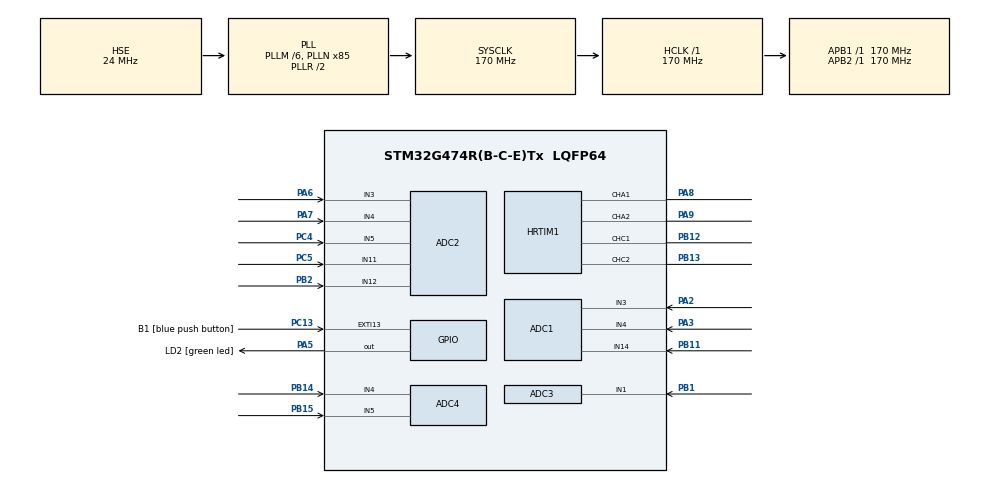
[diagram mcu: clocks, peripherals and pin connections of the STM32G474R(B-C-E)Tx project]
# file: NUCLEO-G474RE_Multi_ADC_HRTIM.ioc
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ADC1.Channel-2\#ChannelRegularConversion=ADC_CHANNEL_14
ADC1.ClockPrescaler=ADC_CLOCK_ASYNC_DIV4
ADC1.ExternalTrigConv=ADC_EXTERNALTRIG_HRTIM_TRG1
ADC1.NbrOfConversionFlag=1
ADC1.OffsetNumber-2\#ChannelRegularConversion=ADC_OFFSET_NONE
ADC1.Rank-2\#ChannelRegularConversion=1
ADC1.SamplingTime-2\#ChannelRegularConversion=ADC_SAMPLETIME_2CYCLES_5
ADC1.master=1
ADC2.ClockPrescaler=ADC_CLOCK_ASYNC_DIV4
ADC2.EnableInjectedConversion=ENABLE
ADC2.EnableRegularConversion=DISABLE
ADC2.ExternalTrigInjecConv=ADC_EXTERNALTRIGINJEC_HRTIM_TRG7
ADC2.InjNumberOfConversion=2
ADC2.InjectedChannel-1\#ChannelInjectedConversion=ADC_CHANNEL_3
ADC2.InjectedChannel-2\#ChannelInjectedConversion=ADC_CHANNEL_4
ADC2.InjectedOffsetNumber-1\#ChannelInjectedConversion=ADC_OFFSET_NONE
ADC2.InjectedOffsetNumber-2\#ChannelInjectedConversion=ADC_OFFSET_NONE
ADC2.InjectedRank-1\#ChannelInjectedConversion=1
ADC2.InjectedRank-2\#ChannelInjectedConversion=2
ADC2.InjectedSamplingTime-1\#ChannelInjectedConversion=ADC_SAMPLETIME_2CYCLES_5
ADC2.InjectedSamplingTime-2\#ChannelInjectedConversion=ADC_SAMPLETIME_2CYCLES_5
ADC2.Overrun=ADC_OVR_DATA_OVERWRITTEN
ADC2.Rank1_Channel=ADC_CHANNEL_3
ADC2.Rank2_Channel=ADC_CHANNEL_4
ADC2.Rank3_Channel=ADC_CHANNEL_5
ADC2.Rank4_Channel=ADC_CHANNEL_11
ADC3.Channel-0\#ChannelRegularConversion=ADC_CHANNEL_1
ADC3.ClockPrescaler=ADC_CLOCK_ASYNC_DIV4
ADC3.NbrOfConversionFlag=1
ADC3.OffsetNumber-0\#ChannelRegularConversion=ADC_OFFSET_NONE
ADC3.Rank-0\#ChannelRegularConversion=1
ADC3.SamplingTime-0\#ChannelRegularConversion=ADC_SAMPLETIME_2CYCLES_5
ADC3.master=1
ADC4.ClockPrescaler=ADC_CLOCK_ASYNC_DIV4
ADC4.EnableInjectedConversion=ENABLE
ADC4.EnableRegularConversion=DISABLE
ADC4.ExternalTrigInjecConv=ADC_EXTERNALTRIGINJEC_HRTIM_TRG1
ADC4.InjNumberOfConversion=1
ADC4.InjectedChannel-1\#ChannelInjectedConversion=ADC_CHANNEL_4
ADC4.InjectedOffsetNumber-1\#ChannelInjectedConversion=ADC_OFFSET_NONE
ADC4.InjectedRank-1\#ChannelInjectedConversion=1
ADC4.InjectedSamplingTime-1\#ChannelInjectedConversion=ADC_SAMPLETIME_2CYCLES_5
ADC4.Rank1_Channel=ADC_CHANNEL_4
HRTIM1.ADCTrigger1_Source1=HRTIM_ADCTRIGGEREVENT13_MASTER_PERIOD
HRTIM1.ADCTrigger_Id1=HRTIM_ADCTRIGGER_1
HRTIM1.ADCTrigger_Id10=HRTIM_ADCTRIGGER_10
HRTIM1.ADCTrigger_Id2=HRTIM_ADCTRIGGER_2
HRTIM1.ADCTrigger_Id3=__NULL
HRTIM1.ADCTrigger_Id7=HRTIM_ADCTRIGGER_7
HRTIM1.ADCTrigger_Id8=HRTIM_ADCTRIGGER_8
HRTIM1.ADCTrigger_Id9=HRTIM_ADCTRIGGER_9
HRTIM1.CompareUnit1-MasterTimer=HRTIM_COMPAREUNIT_1
HRTIM1.CompareUnit1-Output_TA1TA2=HRTIM_COMPAREUNIT_1
HRTIM1.CompareUnit1-Output_TC1TC2=HRTIM_COMPAREUNIT_1
HRTIM1.CompareUnit2-Output_TA1TA2=HRTIM_COMPAREUNIT_2
HRTIM1.CompareUnit2-Output_TC1TC2=HRTIM_COMPAREUNIT_2
HRTIM1.CompareUnit3-Output_TA1TA2=__NULL
HRTIM1.CompareUnit3-Output_TC1TC2=__NULL
HRTIM1.CompareUnit4-Output_TA1TA2=HRTIM_COMPAREUNIT_4
HRTIM1.CompareUnit4-Output_TC1TC2=HRTIM_COMPAREUNIT_4
HRTIM1.CompareValue1-MasterTimer=5
HRTIM1.CompareValue2-Output_TA1TA2=54400/4
HRTIM1.CompareValue2-Output_TC1TC2=54400/4
HRTIM1.CompareValue4-Output_TA1TA2=54400/4*3
HRTIM1.CompareValue4-Output_TC1TC2=54400/4*3
HRTIM1.DeadTimeInsertion-Output_TA1TA2=HRTIM_TIMDEADTIMEINSERTION_ENABLED
HRTIM1.DeadTimeInsertion-Output_TC1TC2=HRTIM_TIMDEADTIMEINSERTION_ENABLED
HRTIM1.FallingValue-Output_TA1TA2=500
HRTIM1.FallingValue-Output_TC1TC2=500
HRTIM1.InterleavedMode-Output_TA1TA2=HRTIM_INTERLEAVED_MODE_DUAL
HRTIM1.InterleavedMode-Output_TC1TC2=HRTIM_INTERLEAVED_MODE_DUAL
HRTIM1.InterruptRequests1_Master=HRTIM_MASTER_IT_MUPD
HRTIM1.NumberADCTriggerSource1=1
HRTIM1.NumberADCTriggerSource2=1
HRTIM1.NumberInterruptRequests_Master-MasterTimer=1
HRTIM1.NumberResetSource1-Output_TA1TA2=1
HRTIM1.NumberResetSource1-Output_TC1TC2=1
HRTIM1.NumberResetTrigger-Output_TA1TA2=1
HRTIM1.NumberResetTrigger-Output_TC1TC2=1
HRTIM1.NumberSetSource1-Output_TA1TA2=1
HRTIM1.NumberSetSource1-Output_TC1TC2=1
HRTIM1.ORingUpdateSource_ADCTrigger10=HRTIM_ADCTRIGGERUPDATE_TIMER_C
HRTIM1.ORingUpdateSource_ADCTrigger7=HRTIM_ADCTRIGGERUPDATE_TIMER_A
HRTIM1.ORingUpdateSource_ADCTrigger8=HRTIM_ADCTRIGGERUPDATE_TIMER_A
HRTIM1.ORingUpdateSource_ADCTrigger9=HRTIM_ADCTRIGGERUPDATE_TIMER_C
HRTIM1.Periode_MASTER=54400
HRTIM1.Periode_TA=54400
HRTIM1.Periode_TC=54400
HRTIM1.PrescalerRatio_MASTER=HRTIM_PRESCALERRATIO_MUL32
HRTIM1.RepetitionCounter-MasterTimer=1
HRTIM1.RepetitionUpdate-MasterTimer=HRTIM_UPDATEONREPETITION_ENABLED
HRTIM1.RepetitionUpdate-Output_TA1TA2=HRTIM_UPDATEONREPETITION_ENABLED
HRTIM1.RepetitionUpdate-Output_TC1TC2=HRTIM_UPDATEONREPETITION_ENABLED
HRTIM1.ResetOutput1_Source1-Output_TA1TA2=HRTIM_OUTPUTRESET_TIMCMP1
HRTIM1.ResetTrigger1-Output_TA1TA2=HRTIM_TIMRESETTRIGGER_MASTER_PER
HRTIM1.ResetTrigger1-Output_TC1TC2=HRTIM_TIMRESETTRIGGER_MASTER_CMP1
HRTIM1.ResetUpdate-Output_TA1TA2=HRTIM_TIMUPDATEONRESET_ENABLED
HRTIM1.ResetUpdate-Output_TC1TC2=HRTIM_TIMUPDATEONRESET_ENABLED
HRTIM1.RisingValue-Output_TA1TA2=500
HRTIM1.RisingValue-Output_TC1TC2=500
HRTIM1.SetOutput1_Source1-Output_TA1TA2=HRTIM_OUTPUTSET_TIMPER
Mcu.Family=STM32G4
Mcu.Name=STM32G474R(B-C-E)Tx
Mcu.Package=LQFP64
NVIC.EXTI15_10_IRQn=true\:0\:0\:false\:false\:true\:true\:true
NVIC.PriorityGroup=NVIC_PRIORITYGROUP_4
PA13.GPIO_Label=T_SWDIO
PA13.Mode=Trace_Asynchronous_SW
PA13.Signal=SYS_JTMS-SWDIO
PA14.GPIO_Label=T_SWCLK
PA14.Mode=Trace_Asynchronous_SW
PA14.Signal=SYS_JTCK-SWCLK
PA2.Mode=IN3-Single-Ended
PA2.Signal=ADC1_IN3
PA3.Mode=IN4-Single-Ended
PA3.Signal=ADC1_IN4
PA5.GPIO_Label=LD2 [green led]
PA5.Signal=GPIO_Output
PA6.Mode=IN3-Single-Ended
PA6.Signal=ADC2_IN3
PA7.Mode=IN4-Single-Ended
PA7.Signal=ADC2_IN4
PA8.Mode=Output_TA1TA2
PA8.Signal=HRTIM1_CHA1
PA9.Mode=Output_TA1TA2
PA9.Signal=HRTIM1_CHA2
PB1.Mode=IN1-Single-Ended
PB1.Signal=ADC3_IN1
PB11.Mode=IN14-Single-Ended
PB11.Signal=ADC1_IN14
PB12.Mode=Output_TC1TC2
PB12.Signal=HRTIM1_CHC1
PB13.Mode=Output_TC1TC2
PB13.Signal=HRTIM1_CHC2
PB14.Mode=IN4-Single-Ended
PB14.Signal=ADC4_IN4
PB15.Mode=IN5-Single-Ended
PB15.Signal=ADC4_IN5
PB2.Mode=IN12-Single-Ended
PB2.Signal=ADC2_IN12
PB3.GPIO_Label=T_SWO
PB3.Mode=Trace_Asynchronous_SW
PB3.Signal=SYS_JTDO-SWO
PC13.GPIO_Label=B1 [blue push button]
PC13.Signal=GPXTI13
PC14-OSC32_IN.Mode=LSE-External-Oscillator
PC14-OSC32_IN.Signal=RCC_OSC32_IN
PC15-OSC32_OUT.Mode=LSE-External-Oscillator
PC15-OSC32_OUT.Signal=RCC_OSC32_OUT
PC4.Mode=IN5-Single-Ended
PC4.Signal=ADC2_IN5
PC5.Mode=IN11-Single-Ended
PC5.Signal=ADC2_IN11
PF0-OSC_IN.Mode=HSE-External-Oscillator
PF0-OSC_IN.Signal=RCC_OSC_IN
PF1-OSC_OUT.Mode=HSE-External-Oscillator
PF1-OSC_OUT.Signal=RCC_OSC_OUT
ProjectManager.HeapSize=0x200
ProjectManager.StackSize=0x400
ProjectManager.TargetToolchain=STM32CubeIDE
RCC.ADC12Freq_Value=170000000
RCC.ADC345Freq_Value=170000000
RCC.AHBFreq_Value=170000000
RCC.APB1Freq_Value=170000000
RCC.APB1TimFreq_Value=170000000
RCC.APB2Freq_Value=170000000
RCC.APB2TimFreq_Value=170000000
RCC.CortexFreq_Value=170000000
RCC.EXTERNAL_CLOCK_VALUE=12288000
RCC.HCLKFreq_Value=170000000
RCC.HSE_VALUE=24000000
RCC.HSI48_VALUE=48000000
RCC.HSI_VALUE=16000000
RCC.PLLM=RCC_PLLM_DIV6
RCC.PLLN=85
RCC.PLLSourceVirtual=RCC_PLLSOURCE_HSE
RCC.RTCClockSelection=RCC_RTCCLKSOURCE_LSE
RCC.SYSCLKFreq_VALUE=170000000
RCC.SYSCLKSource=RCC_SYSCLKSOURCE_PLLCLK
RCC.USBFreq_Value=170000000
RCC.VCOOutputFreq_Value=340000000
VP_HRTIM1_VS_hrtimMasterTimerNoOutput.Mode=MasterTimer
VP_SYS_VS_DBSignals.Mode=DisableDeadBatterySignals
board=NUCLEO-G474RE

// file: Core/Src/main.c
/* USER CODE BEGIN Header */
/**
  ******************************************************************************
  * @file           : main.c
  * @brief          : Main program body
  ******************************************************************************
  * @attention
  *
  * <h2><center>&copy; Copyright (c) 2020 STMicroelectronics.
  * All rights reserved.</center></h2>
  *
  * This software component is licensed by ST under BSD 3-Clause license,
  * the "License"; You may not use this file except in compliance with the
  * License. You may obtain a copy of the License at:
  *                        opensource.org/licenses/BSD-3-Clause
  *
  ******************************************************************************
  */
/* USER CODE END Header */

#include "main.h"

/* USER CODE BEGIN PD */

// use and comment only one VOUT_TARGET
#define VOUT_TARGET_V   3 // in Volts
//#define VOUT_TARGET_mV  3000 // in mV
#define VREF  3300 // mV
#define RUP   2000 // ohms
#define RDOWN 2000 // ohms
//#define MAX_PHASE 27200 // half of the period
#define MAX_PHASE 26500
#define MIN_PHASE 16
#define SAT_LIMIT 21888
#define NUM_REPETITION 0
#define SLOW_NUM_REPETITION 6

/* USER CODE END PD */

ADC_HandleTypeDef hadc1;
ADC_HandleTypeDef hadc2;
ADC_HandleTypeDef hadc3;
ADC_HandleTypeDef hadc4;

HRTIM_HandleTypeDef hhrtim1;

/* USER CODE BEGIN PV */

volatile int32_t VoutFeedback_32bit;
volatile int16_t VoutFeedback, VoutTarget;
volatile uint16_t VoutMeasured;
static uint16_t phase_cntr, debug_phase;
static int32_t Kp;
static int32_t Ki;
static int32_t Kd;
static int8_t operationmode, direction = 1, repetition_cntr = 0;
static int32_t delay_cntr = 0;
static int32_t Int_term_Buck;
static uint32_t CTMin;
static uint32_t CTMax;
//volatile uint32_t VoutConversion;

volatile int32_t seterr, pid_out, pid_out_last, pid_out_diff;
volatile int32_t error, errorProp;
volatile int32_t last_error;
volatile int32_t errorSum;
volatile int32_t errorRate;
//uint16_t SPI_msg[5];

/* USER CODE END PV */

void SystemClock_Config(void);
static void MX_GPIO_Init(void);
static void MX_ADC1_Init(void);
static void MX_ADC2_Init(void);
static void MX_ADC3_Init(void);
static void MX_ADC4_Init(void);
static void MX_HRTIM1_Init(void);
/* USER CODE BEGIN PFP */

static void HRTIM1_Start_Output(void);
int16_t my_PID_Controller(void);

/* USER CODE END PFP */

int main(void)
{

  /* MCU Configuration--------------------------------------------------------*/

  /* Reset of all peripherals, Initializes the Flash interface and the Systick. */
  HAL_Init();

  /* Configure the system clock */
  SystemClock_Config();

  /* Initialize all configured peripherals */
  MX_GPIO_Init();
  MX_ADC1_Init();
  MX_ADC2_Init();
  MX_ADC3_Init();
  MX_ADC4_Init();
  MX_HRTIM1_Init();

  /* Infinite loop */
  while (1)
  {

  }
}

void SystemClock_Config(void)
{
  RCC_OscInitTypeDef RCC_OscInitStruct = {0};
  RCC_ClkInitTypeDef RCC_ClkInitStruct = {0};
  RCC_PeriphCLKInitTypeDef PeriphClkInit = {0};

  /** Configure the main internal regulator output voltage
  */
  HAL_PWREx_ControlVoltageScaling(PWR_REGULATOR_VOLTAGE_SCALE1_BOOST);
  /** Initializes the CPU, AHB and APB busses clocks
  */
  RCC_OscInitStruct.OscillatorType = RCC_OSCILLATORTYPE_HSE;
  RCC_OscInitStruct.HSEState = RCC_HSE_ON;
  RCC_OscInitStruct.PLL.PLLState = RCC_PLL_ON;
  RCC_OscInitStruct.PLL.PLLSource = RCC_PLLSOURCE_HSE;
  RCC_OscInitStruct.PLL.PLLM = RCC_PLLM_DIV6;
  RCC_OscInitStruct.PLL.PLLN = 85;
  RCC_OscInitStruct.PLL.PLLP = RCC_PLLP_DIV2;
  RCC_OscInitStruct.PLL.PLLQ = RCC_PLLQ_DIV2;
  RCC_OscInitStruct.PLL.PLLR = RCC_PLLR_DIV2;
  if (HAL_RCC_OscConfig(&RCC_OscInitStruct) != HAL_OK)
  {
    Error_Handler();
  }
  /** Initializes the CPU, AHB and APB busses clocks
  */
  RCC_ClkInitStruct.ClockType = RCC_CLOCKTYPE_HCLK|RCC_CLOCKTYPE_SYSCLK
                              |RCC_CLOCKTYPE_PCLK1|RCC_CLOCKTYPE_PCLK2;
  RCC_ClkInitStruct.SYSCLKSource = RCC_SYSCLKSOURCE_PLLCLK;
  RCC_ClkInitStruct.AHBCLKDivider = RCC_SYSCLK_DIV1;
  RCC_ClkInitStruct.APB1CLKDivider = RCC_HCLK_DIV1;
  RCC_ClkInitStruct.APB2CLKDivider = RCC_HCLK_DIV1;

  if (HAL_RCC_ClockConfig(&RCC_ClkInitStruct, FLASH_LATENCY_8) != HAL_OK)
  {
    Error_Handler();
  }
  /** Initializes the peripherals clocks
  */
  PeriphClkInit.PeriphClockSelection = RCC_PERIPHCLK_ADC12|RCC_PERIPHCLK_ADC345;
  PeriphClkInit.Adc12ClockSelection = RCC_ADC12CLKSOURCE_SYSCLK;
  PeriphClkInit.Adc345ClockSelection = RCC_ADC345CLKSOURCE_SYSCLK;
  if (HAL_RCCEx_PeriphCLKConfig(&PeriphClkInit) != HAL_OK)
  {
    Error_Handler();
  }
}

static void MX_ADC1_Init(void)
{

  ADC_MultiModeTypeDef multimode = {0};
  ADC_ChannelConfTypeDef sConfig = {0};

  /** Common config
  */
  hadc1.Instance = ADC1;
  hadc1.Init.ClockPrescaler = ADC_CLOCK_ASYNC_DIV4;
  hadc1.Init.Resolution = ADC_RESOLUTION_12B;
  hadc1.Init.DataAlign = ADC_DATAALIGN_RIGHT;
  hadc1.Init.GainCompensation = 0;
  hadc1.Init.ScanConvMode = ADC_SCAN_DISABLE;
  hadc1.Init.EOCSelection = ADC_EOC_SINGLE_CONV;
  hadc1.Init.LowPowerAutoWait = DISABLE;
  hadc1.Init.ContinuousConvMode = DISABLE;
  hadc1.Init.NbrOfConversion = 1;
  hadc1.Init.DiscontinuousConvMode = DISABLE;
  hadc1.Init.ExternalTrigConv = ADC_EXTERNALTRIG_HRTIM_TRG1;
  hadc1.Init.ExternalTrigConvEdge = ADC_EXTERNALTRIGCONVEDGE_RISING;
  hadc1.Init.DMAContinuousRequests = DISABLE;
  hadc1.Init.Overrun = ADC_OVR_DATA_PRESERVED;
  hadc1.Init.OversamplingMode = DISABLE;
  if (HAL_ADC_Init(&hadc1) != HAL_OK)
  {
    Error_Handler();
  }
  /** Configure the ADC multi-mode
  */
  multimode.Mode = ADC_MODE_INDEPENDENT;
  if (HAL_ADCEx_MultiModeConfigChannel(&hadc1, &multimode) != HAL_OK)
  {
    Error_Handler();
  }
  /** Configure Regular Channel
  */
  sConfig.Channel = ADC_CHANNEL_14;
  sConfig.Rank = ADC_REGULAR_RANK_1;
  sConfig.SamplingTime = ADC_SAMPLETIME_2CYCLES_5;
  sConfig.SingleDiff = ADC_SINGLE_ENDED;
  sConfig.OffsetNumber = ADC_OFFSET_NONE;
  sConfig.Offset = 0;
  if (HAL_ADC_ConfigChannel(&hadc1, &sConfig) != HAL_OK)
  {
    Error_Handler();
  }

}

static void MX_ADC2_Init(void)
{

  ADC_InjectionConfTypeDef sConfigInjected = {0};

  /** Common config
  */
  hadc2.Instance = ADC2;
  hadc2.Init.ClockPrescaler = ADC_CLOCK_ASYNC_DIV4;
  hadc2.Init.Resolution = ADC_RESOLUTION_12B;
  hadc2.Init.DataAlign = ADC_DATAALIGN_RIGHT;
  hadc2.Init.GainCompensation = 0;
  hadc2.Init.ScanConvMode = ADC_SCAN_ENABLE;
  hadc2.Init.EOCSelection = ADC_EOC_SINGLE_CONV;
  hadc2.Init.LowPowerAutoWait = DISABLE;
  hadc2.Init.ContinuousConvMode = DISABLE;
  hadc2.Init.NbrOfConversion = 1;
  hadc2.Init.DiscontinuousConvMode = DISABLE;
  hadc2.Init.DMAContinuousRequests = DISABLE;
  hadc2.Init.Overrun = ADC_OVR_DATA_OVERWRITTEN;
  hadc2.Init.OversamplingMode = DISABLE;
  if (HAL_ADC_Init(&hadc2) != HAL_OK)
  {
    Error_Handler();
  }
  /** Configure Injected Channel
  */
  sConfigInjected.InjectedChannel = ADC_CHANNEL_3;
  sConfigInjected.InjectedRank = ADC_INJECTED_RANK_1;
  sConfigInjected.InjectedSamplingTime = ADC_SAMPLETIME_2CYCLES_5;
  sConfigInjected.InjectedSingleDiff = ADC_SINGLE_ENDED;
  sConfigInjected.InjectedOffsetNumber = ADC_OFFSET_NONE;
  sConfigInjected.InjectedOffset = 0;
  sConfigInjected.InjectedNbrOfConversion = 2;
  sConfigInjected.InjectedDiscontinuousConvMode = DISABLE;
  sConfigInjected.AutoInjectedConv = DISABLE;
  sConfigInjected.QueueInjectedContext = DISABLE;
  sConfigInjected.ExternalTrigInjecConv = ADC_EXTERNALTRIGINJEC_HRTIM_TRG7;
  sConfigInjected.ExternalTrigInjecConvEdge = ADC_EXTERNALTRIGINJECCONV_EDGE_RISING;
  sConfigInjected.InjecOversamplingMode = DISABLE;
  if (HAL_ADCEx_InjectedConfigChannel(&hadc2, &sConfigInjected) != HAL_OK)
  {
    Error_Handler();
  }
  /** Configure Injected Channel
  */
  sConfigInjected.InjectedChannel = ADC_CHANNEL_4;
  sConfigInjected.InjectedRank = ADC_INJECTED_RANK_2;
  if (HAL_ADCEx_InjectedConfigChannel(&hadc2, &sConfigInjected) != HAL_OK)
  {
    Error_Handler();
  }

}

static void MX_ADC3_Init(void)
{

  ADC_MultiModeTypeDef multimode = {0};
  ADC_ChannelConfTypeDef sConfig = {0};

  /** Common config
  */
  hadc3.Instance = ADC3;
  hadc3.Init.ClockPrescaler = ADC_CLOCK_ASYNC_DIV4;
  hadc3.Init.Resolution = ADC_RESOLUTION_12B;
  hadc3.Init.DataAlign = ADC_DATAALIGN_RIGHT;
  hadc3.Init.GainCompensation = 0;
  hadc3.Init.ScanConvMode = ADC_SCAN_DISABLE;
  hadc3.Init.EOCSelection = ADC_EOC_SINGLE_CONV;
  hadc3.Init.LowPowerAutoWait = DISABLE;
  hadc3.Init.ContinuousConvMode = DISABLE;
  hadc3.Init.NbrOfConversion = 1;
  hadc3.Init.DiscontinuousConvMode = DISABLE;
  hadc3.Init.ExternalTrigConv = ADC_SOFTWARE_START;
  hadc3.Init.ExternalTrigConvEdge = ADC_EXTERNALTRIGCONVEDGE_NONE;
  hadc3.Init.DMAContinuousRequests = DISABLE;
  hadc3.Init.Overrun = ADC_OVR_DATA_PRESERVED;
  hadc3.Init.OversamplingMode = DISABLE;
  if (HAL_ADC_Init(&hadc3) != HAL_OK)
  {
    Error_Handler();
  }
  /** Configure the ADC multi-mode
  */
  multimode.Mode = ADC_MODE_INDEPENDENT;
  if (HAL_ADCEx_MultiModeConfigChannel(&hadc3, &multimode) != HAL_OK)
  {
    Error_Handler();
  }
  /** Configure Regular Channel
  */
  sConfig.Channel = ADC_CHANNEL_1;
  sConfig.Rank = ADC_REGULAR_RANK_1;
  sConfig.SamplingTime = ADC_SAMPLETIME_2CYCLES_5;
  sConfig.SingleDiff = ADC_SINGLE_ENDED;
  sConfig.OffsetNumber = ADC_OFFSET_NONE;
  sConfig.Offset = 0;
  if (HAL_ADC_ConfigChannel(&hadc3, &sConfig) != HAL_OK)
  {
    Error_Handler();
  }

}

static void MX_ADC4_Init(void)
{

  ADC_InjectionConfTypeDef sConfigInjected = {0};

  /** Common config
  */
  hadc4.Instance = ADC4;
  hadc4.Init.ClockPrescaler = ADC_CLOCK_ASYNC_DIV4;
  hadc4.Init.Resolution = ADC_RESOLUTION_12B;
  hadc4.Init.DataAlign = ADC_DATAALIGN_RIGHT;
  hadc4.Init.GainCompensation = 0;
  hadc4.Init.ScanConvMode = ADC_SCAN_DISABLE;
  hadc4.Init.EOCSelection = ADC_EOC_SINGLE_CONV;
  hadc4.Init.LowPowerAutoWait = DISABLE;
  hadc4.Init.ContinuousConvMode = DISABLE;
  hadc4.Init.NbrOfConversion = 1;
  hadc4.Init.DiscontinuousConvMode = DISABLE;
  hadc4.Init.DMAContinuousRequests = DISABLE;
  hadc4.Init.Overrun = ADC_OVR_DATA_PRESERVED;
  hadc4.Init.OversamplingMode = DISABLE;
  if (HAL_ADC_Init(&hadc4) != HAL_OK)
  {
    Error_Handler();
  }
  /** Configure Injected Channel
  */
  sConfigInjected.InjectedChannel = ADC_CHANNEL_4;
  sConfigInjected.InjectedRank = ADC_INJECTED_RANK_1;
  sConfigInjected.InjectedSamplingTime = ADC_SAMPLETIME_2CYCLES_5;
  sConfigInjected.InjectedSingleDiff = ADC_SINGLE_ENDED;
  sConfigInjected.InjectedOffsetNumber = ADC_OFFSET_NONE;
  sConfigInjected.InjectedOffset = 0;
  sConfigInjected.InjectedNbrOfConversion = 1;
  sConfigInjected.InjectedDiscontinuousConvMode = DISABLE;
  sConfigInjected.AutoInjectedConv = DISABLE;
  sConfigInjected.QueueInjectedContext = DISABLE;
  sConfigInjected.ExternalTrigInjecConv = ADC_EXTERNALTRIGINJEC_HRTIM_TRG1;
  sConfigInjected.ExternalTrigInjecConvEdge = ADC_EXTERNALTRIGINJECCONV_EDGE_RISING;
  sConfigInjected.InjecOversamplingMode = DISABLE;
  if (HAL_ADCEx_InjectedConfigChannel(&hadc4, &sConfigInjected) != HAL_OK)
  {
    Error_Handler();
  }

}

static void MX_HRTIM1_Init(void)
{

  HRTIM_ADCTriggerCfgTypeDef pADCTriggerCfg = {0};
  HRTIM_TimeBaseCfgTypeDef pTimeBaseCfg = {0};
  HRTIM_TimerCfgTypeDef pTimerCfg = {0};
  HRTIM_CompareCfgTypeDef pCompareCfg = {0};
  HRTIM_TimerCtlTypeDef pTimerCtl = {0};
  HRTIM_DeadTimeCfgTypeDef pDeadTimeCfg = {0};
  HRTIM_OutputCfgTypeDef pOutputCfg = {0};

  hhrtim1.Instance = HRTIM1;
  hhrtim1.Init.HRTIMInterruptResquests = HRTIM_IT_NONE;
  hhrtim1.Init.SyncOptions = HRTIM_SYNCOPTION_NONE;
  if (HAL_HRTIM_Init(&hhrtim1) != HAL_OK)
  {
    Error_Handler();
  }
  if (HAL_HRTIM_DLLCalibrationStart(&hhrtim1, HRTIM_CALIBRATIONRATE_3) != HAL_OK)
  {
    Error_Handler();
  }
  if (HAL_HRTIM_PollForDLLCalibration(&hhrtim1, 10) != HAL_OK)
  {
    Error_Handler();
  }
  pADCTriggerCfg.UpdateSource = HRTIM_ADCTRIGGERUPDATE_MASTER;
  pADCTriggerCfg.Trigger = HRTIM_ADCTRIGGEREVENT13_MASTER_PERIOD;
  if (HAL_HRTIM_ADCTriggerConfig(&hhrtim1, HRTIM_ADCTRIGGER_1, &pADCTriggerCfg) != HAL_OK)
  {
    Error_Handler();
  }
  if (HAL_HRTIM_ADCPostScalerConfig(&hhrtim1, HRTIM_ADCTRIGGER_1, 0x0) != HAL_OK)
  {
    Error_Handler();
  }
  pADCTriggerCfg.Trigger = HRTIM_ADCTRIGGEREVENT24_NONE;
  if (HAL_HRTIM_ADCTriggerConfig(&hhrtim1, HRTIM_ADCTRIGGER_2, &pADCTriggerCfg) != HAL_OK)
  {
    Error_Handler();
  }
  if (HAL_HRTIM_ADCPostScalerConfig(&hhrtim1, HRTIM_ADCTRIGGER_2, 0x0) != HAL_OK)
  {
    Error_Handler();
  }
  pADCTriggerCfg.UpdateSource = HRTIM_ADCTRIGGERUPDATE_TIMER_A;
  pADCTriggerCfg.Trigger = HRTIM_ADCTRIGGEREVENT579_MASTER_CMP1;
  if (HAL_HRTIM_ADCTriggerConfig(&hhrtim1, HRTIM_ADCTRIGGER_7, &pADCTriggerCfg) != HAL_OK)
  {
    Error_Handler();
  }
  if (HAL_HRTIM_ADCPostScalerConfig(&hhrtim1, HRTIM_ADCTRIGGER_7, 0x0) != HAL_OK)
  {
    Error_Handler();
  }
  pADCTriggerCfg.Trigger = HRTIM_ADCTRIGGEREVENT6810_MASTER_CMP1;
  if (HAL_HRTIM_ADCTriggerConfig(&hhrtim1, HRTIM_ADCTRIGGER_8, &pADCTriggerCfg) != HAL_OK)
  {
    Error_Handler();
  }
  if (HAL_HRTIM_ADCPostScalerConfig(&hhrtim1, HRTIM_ADCTRIGGER_8, 0x0) != HAL_OK)
  {
    Error_Handler();
  }
  pADCTriggerCfg.UpdateSource = HRTIM_ADCTRIGGERUPDATE_TIMER_C;
  pADCTriggerCfg.Trigger = HRTIM_ADCTRIGGEREVENT579_MASTER_CMP1;
  if (HAL_HRTIM_ADCTriggerConfig(&hhrtim1, HRTIM_ADCTRIGGER_9, &pADCTriggerCfg) != HAL_OK)
  {
    Error_Handler();
  }
  if (HAL_HRTIM_ADCPostScalerConfig(&hhrtim1, HRTIM_ADCTRIGGER_9, 0x0) != HAL_OK)
  {
    Error_Handler();
  }
  pADCTriggerCfg.Trigger = HRTIM_ADCTRIGGEREVENT6810_MASTER_CMP1;
  if (HAL_HRTIM_ADCTriggerConfig(&hhrtim1, HRTIM_ADCTRIGGER_10, &pADCTriggerCfg) != HAL_OK)
  {
    Error_Handler();
  }
  if (HAL_HRTIM_ADCPostScalerConfig(&hhrtim1, HRTIM_ADCTRIGGER_10, 0x0) != HAL_OK)
  {
    Error_Handler();
  }
  pTimeBaseCfg.Period = 54400;
  pTimeBaseCfg.RepetitionCounter = 1;
  pTimeBaseCfg.PrescalerRatio = HRTIM_PRESCALERRATIO_MUL32;
  pTimeBaseCfg.Mode = HRTIM_MODE_CONTINUOUS;
  if (HAL_HRTIM_TimeBaseConfig(&hhrtim1, HRTIM_TIMERINDEX_MASTER, &pTimeBaseCfg) != HAL_OK)
  {
    Error_Handler();
  }
  pTimerCfg.InterruptRequests = HRTIM_MASTER_IT_MUPD;
  pTimerCfg.DMARequests = HRTIM_MASTER_DMA_NONE;
  pTimerCfg.DMASrcAddress = 0x0000;
  pTimerCfg.DMADstAddress = 0x0000;
  pTimerCfg.DMASize = 0x1;
  pTimerCfg.HalfModeEnable = HRTIM_HALFMODE_DISABLED;
  pTimerCfg.InterleavedMode = HRTIM_INTERLEAVED_MODE_DISABLED;
  pTimerCfg.StartOnSync = HRTIM_SYNCSTART_DISABLED;
  pTimerCfg.ResetOnSync = HRTIM_SYNCRESET_DISABLED;
  pTimerCfg.DACSynchro = HRTIM_DACSYNC_NONE;
  pTimerCfg.PreloadEnable = HRTIM_PRELOAD_DISABLED;
  pTimerCfg.UpdateGating = HRTIM_UPDATEGATING_INDEPENDENT;
  pTimerCfg.BurstMode = HRTIM_TIMERBURSTMODE_MAINTAINCLOCK;
  pTimerCfg.RepetitionUpdate = HRTIM_UPDATEONREPETITION_ENABLED;
  pTimerCfg.ReSyncUpdate = HRTIM_TIMERESYNC_UPDATE_UNCONDITIONAL;
  if (HAL_HRTIM_WaveformTimerConfig(&hhrtim1, HRTIM_TIMERINDEX_MASTER, &pTimerCfg) != HAL_OK)
  {
    Error_Handler();
  }
  pCompareCfg.CompareValue = 5;
  if (HAL_HRTIM_WaveformCompareConfig(&hhrtim1, HRTIM_TIMERINDEX_MASTER, HRTIM_COMPAREUNIT_1, &pCompareCfg) != HAL_OK)
  {
    Error_Handler();
  }
  pTimeBaseCfg.RepetitionCounter = 0x00;
  if (HAL_HRTIM_TimeBaseConfig(&hhrtim1, HRTIM_TIMERINDEX_TIMER_A, &pTimeBaseCfg) != HAL_OK)
  {
    Error_Handler();
  }
  pTimerCtl.UpDownMode = HRTIM_TIMERUPDOWNMODE_UP;
  pTimerCtl.TrigHalf = HRTIM_TIMERTRIGHALF_DISABLED;
  pTimerCtl.GreaterCMP1 = HRTIM_TIMERGTCMP1_EQUAL;
  pTimerCtl.DualChannelDacEnable = HRTIM_TIMER_DCDE_DISABLED;
  if (HAL_HRTIM_WaveformTimerControl(&hhrtim1, HRTIM_TIMERINDEX_TIMER_A, &pTimerCtl) != HAL_OK)
  {
    Error_Handler();
  }
  pTimerCfg.InterruptRequests = HRTIM_TIM_IT_NONE;
  pTimerCfg.DMARequests = HRTIM_TIM_DMA_NONE;
  pTimerCfg.DMASrcAddress = 0x0000;
  pTimerCfg.DMADstAddress = 0x0000;
  pTimerCfg.DMASize = 0x1;
  pTimerCfg.InterleavedMode = HRTIM_INTERLEAVED_MODE_DUAL;
  pTimerCfg.PushPull = HRTIM_TIMPUSHPULLMODE_DISABLED;
  pTimerCfg.FaultEnable = HRTIM_TIMFAULTENABLE_NONE;
  pTimerCfg.FaultLock = HRTIM_TIMFAULTLOCK_READWRITE;
  pTimerCfg.DeadTimeInsertion = HRTIM_TIMDEADTIMEINSERTION_ENABLED;
  pTimerCfg.DelayedProtectionMode = HRTIM_TIMER_A_B_C_DELAYEDPROTECTION_DISABLED;
  pTimerCfg.UpdateTrigger = HRTIM_TIMUPDATETRIGGER_NONE;
  pTimerCfg.ResetTrigger = HRTIM_TIMRESETTRIGGER_MASTER_PER;
  pTimerCfg.ResetUpdate = HRTIM_TIMUPDATEONRESET_ENABLED;
  if (HAL_HRTIM_WaveformTimerConfig(&hhrtim1, HRTIM_TIMERINDEX_TIMER_A, &pTimerCfg) != HAL_OK)
  {
    Error_Handler();
  }
  pTimerCfg.DMASrcAddress = 0x0000;
  pTimerCfg.DMADstAddress = 0x0000;
  pTimerCfg.DMASize = 0x1;
  pTimerCfg.ResetTrigger = HRTIM_TIMRESETTRIGGER_MASTER_CMP1;
  if (HAL_HRTIM_WaveformTimerConfig(&hhrtim1, HRTIM_TIMERINDEX_TIMER_C, &pTimerCfg) != HAL_OK)
  {
    Error_Handler();
  }
  pCompareCfg.CompareValue = 54400/4;
  pCompareCfg.AutoDelayedMode = HRTIM_AUTODELAYEDMODE_REGULAR;
  pCompareCfg.AutoDelayedTimeout = 0x0000;

  if (HAL_HRTIM_WaveformCompareConfig(&hhrtim1, HRTIM_TIMERINDEX_TIMER_A, HRTIM_COMPAREUNIT_2, &pCompareCfg) != HAL_OK)
  {
    Error_Handler();
  }
  pCompareCfg.CompareValue = 54400/4*3;
  pCompareCfg.AutoDelayedTimeout = 0x0000;

  if (HAL_HRTIM_WaveformCompareConfig(&hhrtim1, HRTIM_TIMERINDEX_TIMER_A, HRTIM_COMPAREUNIT_4, &pCompareCfg) != HAL_OK)
  {
    Error_Handler();
  }
  pCompareCfg.AutoDelayedTimeout = 0x0000;

  if (HAL_HRTIM_WaveformCompareConfig(&hhrtim1, HRTIM_TIMERINDEX_TIMER_C, HRTIM_COMPAREUNIT_4, &pCompareCfg) != HAL_OK)
  {
    Error_Handler();
  }
  pDeadTimeCfg.Prescaler = HRTIM_TIMDEADTIME_PRESCALERRATIO_MUL8;
  pDeadTimeCfg.RisingValue = 500;
  pDeadTimeCfg.RisingSign = HRTIM_TIMDEADTIME_RISINGSIGN_POSITIVE;
  pDeadTimeCfg.RisingLock = HRTIM_TIMDEADTIME_RISINGLOCK_WRITE;
  pDeadTimeCfg.RisingSignLock = HRTIM_TIMDEADTIME_RISINGSIGNLOCK_WRITE;
  pDeadTimeCfg.FallingValue = 500;
  pDeadTimeCfg.FallingSign = HRTIM_TIMDEADTIME_FALLINGSIGN_POSITIVE;
  pDeadTimeCfg.FallingLock = HRTIM_TIMDEADTIME_FALLINGLOCK_WRITE;
  pDeadTimeCfg.FallingSignLock = HRTIM_TIMDEADTIME_FALLINGSIGNLOCK_WRITE;
  if (HAL_HRTIM_DeadTimeConfig(&hhrtim1, HRTIM_TIMERINDEX_TIMER_A, &pDeadTimeCfg) != HAL_OK)
  {
    Error_Handler();
  }
  if (HAL_HRTIM_DeadTimeConfig(&hhrtim1, HRTIM_TIMERINDEX_TIMER_C, &pDeadTimeCfg) != HAL_OK)
  {
    Error_Handler();
  }
  pOutputCfg.Polarity = HRTIM_OUTPUTPOLARITY_HIGH;
  pOutputCfg.SetSource = HRTIM_OUTPUTSET_TIMPER;
  pOutputCfg.ResetSource = HRTIM_OUTPUTRESET_TIMCMP1;
  pOutputCfg.IdleMode = HRTIM_OUTPUTIDLEMODE_NONE;
  pOutputCfg.IdleLevel = HRTIM_OUTPUTIDLELEVEL_INACTIVE;
  pOutputCfg.FaultLevel = HRTIM_OUTPUTFAULTLEVEL_NONE;
  pOutputCfg.ChopperModeEnable = HRTIM_OUTPUTCHOPPERMODE_DISABLED;
  pOutputCfg.BurstModeEntryDelayed = HRTIM_OUTPUTBURSTMODEENTRY_REGULAR;
  if (HAL_HRTIM_WaveformOutputConfig(&hhrtim1, HRTIM_TIMERINDEX_TIMER_A, HRTIM_OUTPUT_TA1, &pOutputCfg) != HAL_OK)
  {
    Error_Handler();
  }
  pOutputCfg.SetSource = HRTIM_OUTPUTSET_NONE;
  pOutputCfg.ResetSource = HRTIM_OUTPUTRESET_NONE;
  if (HAL_HRTIM_WaveformOutputConfig(&hhrtim1, HRTIM_TIMERINDEX_TIMER_C, HRTIM_OUTPUT_TC1, &pOutputCfg) != HAL_OK)
  {
    Error_Handler();
  }
  if (HAL_HRTIM_WaveformOutputConfig(&hhrtim1, HRTIM_TIMERINDEX_TIMER_A, HRTIM_OUTPUT_TA2, &pOutputCfg) != HAL_OK)
  {
    Error_Handler();
  }
  if (HAL_HRTIM_WaveformOutputConfig(&hhrtim1, HRTIM_TIMERINDEX_TIMER_C, HRTIM_OUTPUT_TC2, &pOutputCfg) != HAL_OK)
  {
    Error_Handler();
  }
  if (HAL_HRTIM_TimeBaseConfig(&hhrtim1, HRTIM_TIMERINDEX_TIMER_C, &pTimeBaseCfg) != HAL_OK)
  {
    Error_Handler();
  }
  if (HAL_HRTIM_WaveformTimerControl(&hhrtim1, HRTIM_TIMERINDEX_TIMER_C, &pTimerCtl) != HAL_OK)
  {
    Error_Handler();
  }
  pCompareCfg.CompareValue = 54400/4;
  pCompareCfg.AutoDelayedTimeout = 0x0000;

  if (HAL_HRTIM_WaveformCompareConfig(&hhrtim1, HRTIM_TIMERINDEX_TIMER_C, HRTIM_COMPAREUNIT_2, &pCompareCfg) != HAL_OK)
  {
    Error_Handler();
  }
  HAL_HRTIM_MspPostInit(&hhrtim1);

}

static void MX_GPIO_Init(void)
{
  GPIO_InitTypeDef GPIO_InitStruct = {0};

  /* GPIO Ports Clock Enable */
  __HAL_RCC_GPIOC_CLK_ENABLE();
  __HAL_RCC_GPIOF_CLK_ENABLE();
  __HAL_RCC_GPIOA_CLK_ENABLE();
  __HAL_RCC_GPIOB_CLK_ENABLE();

  /*Configure GPIO pin Output Level */
  HAL_GPIO_WritePin(LD2_GPIO_Port, LD2_Pin, GPIO_PIN_RESET);

  /*Configure GPIO pin : B1_Pin */
  GPIO_InitStruct.Pin = B1_Pin;
  GPIO_InitStruct.Mode = GPIO_MODE_IT_RISING;
  GPIO_InitStruct.Pull = GPIO_NOPULL;
  HAL_GPIO_Init(B1_GPIO_Port, &GPIO_InitStruct);

  /*Configure GPIO pin : LD2_Pin */
  GPIO_InitStruct.Pin = LD2_Pin;
  GPIO_InitStruct.Mode = GPIO_MODE_OUTPUT_PP;
  GPIO_InitStruct.Pull = GPIO_NOPULL;
  GPIO_InitStruct.Speed = GPIO_SPEED_FREQ_LOW;
  HAL_GPIO_Init(LD2_GPIO_Port, &GPIO_InitStruct);

  /* EXTI interrupt init*/
  HAL_NVIC_SetPriority(EXTI15_10_IRQn, 0, 0);
  HAL_NVIC_EnableIRQ(EXTI15_10_IRQn);

}

/* USER CODE BEGIN 4 */

static void HRTIM1_Start_Output(void)
{
	hhrtim1.Instance = HRTIM1;

	HAL_HRTIM_WaveformOutputStart(&hhrtim1, HRTIM_OUTPUT_TA1 | HRTIM_OUTPUT_TA2 | HRTIM_OUTPUT_TC1 | HRTIM_OUTPUT_TC2);
	HAL_HRTIM_WaveformCountStart_IT(&hhrtim1, HRTIM_TIMERID_MASTER | HRTIM_TIMERID_TIMER_A | HRTIM_TIMERID_TIMER_C);

}

int16_t my_PID_Controller(void)
{

  VoutMeasured = HAL_ADCEx_InjectedGetValue(&hadc2, ADC_INJECTED_RANK_1);
  last_error = error;
  error = (uint16_t) VoutTarget - (uint16_t ) VoutMeasured;

  if (operationmode == 0) // start-up
  {
	  phase_cntr++;
	  pid_out = phase_cntr;
	  if (error <= 5)
		  operationmode = 1;
	  errorSum = 0;
  }

  if (operationmode == 1) // close loop
  {

//	  errorSum = errorSum + error * 2;
//	  errorRate = (error - last_error)/2;

	errorProp = (Kp * error) / 10;
	errorSum = errorSum + ((Ki * error) / 10);

	// check if the change is so much to prevent oscillations, see below "pid_out_diff"
	pid_out_last = pid_out;

	if (errorSum > SAT_LIMIT)
	{
	  errorSum = SAT_LIMIT;
	}
	if (errorSum < -(SAT_LIMIT))
	{
	  errorSum = -(SAT_LIMIT);
	}

	// my understanding
	//pid_out = Kp * error + errorSum * Ki + Kd * errorRate;

	// from FW
	/*
	seterr = (-Kp * error) / 200;
	Int_term_Buck = Int_term_Buck + ((-Ki * error) / 200);
	pid_out = seterr + Int_term_Buck;
	*/
	pid_out =  errorProp + errorSum;

	// check if the change is so much to prevent oscillations, see above "pid_out_last"
	pid_out_diff = pid_out - pid_out_last;

	// this supposedly prevent sudden change in duty/phase
//	    if (pid_out_diff > MAX_DUTY_INC)
//	    {
//	    	pid_out += MAX_DUTY_INC;
//	    } else if (pid_out_diff > MAX_DUTY_INC)
//	    {
//	    	pid_out -= MAX_DUTY_INC;
//	    }

  }

  if (operationmode == 2) // start up until vfeed
  {
	  if (error >= 5)
	  {
		  phase_cntr++;
		  pid_out = phase_cntr;
		  // do not use below
//		  if ( phase_cntr < debug_phase)
//		  {
//			  phase_cntr++;
//			  pid_out = phase_cntr;
//		  }
	  } else
		  while(1);
  }

  if (operationmode == 3) // debug = slowly increase duty/phase until a certain value
  {
	  if ( phase_cntr < debug_phase)
	  {
		  phase_cntr++;
		  pid_out = phase_cntr;
	  }
  }

  if (operationmode == 4) // debug = fix duty cycle/phase
  {
	  pid_out = debug_phase;
  }

  if (operationmode == 7) // start delay
  {
	  if (delay_cntr < 200000)
	  {
		  delay_cntr++;
	  } else
	  {
		  delay_cntr = 0;
		  operationmode++;
	  }
  }

  if (operationmode == 8) // one time slow going up
  {
	  if (repetition_cntr < SLOW_NUM_REPETITION)
	  {
		  repetition_cntr++;
	  } else
	  {
		  phase_cntr++;
		  if ( phase_cntr >= MAX_PHASE)
		  {
			  if (delay_cntr < 25000)
			  {
				  delay_cntr++;
				  pid_out = MAX_PHASE;
				  phase_cntr = MAX_PHASE;
			  } else
			  {
				  operationmode = 9;
				  repetition_cntr = 0;
			  }
		  } else
		  {
			  pid_out = phase_cntr;
		  }
		  repetition_cntr = 0;
	  }
  }

  if (operationmode == 9) // phase up/down
  {

	  if (repetition_cntr < NUM_REPETITION)
	  {
		  repetition_cntr++;
	  } else
	  {
		  if (direction == 0)
		  {
			  phase_cntr++;
			  if ( phase_cntr >= MAX_PHASE)
			  {
				  direction = 1;
				  //HAL_HRTIM_WaveformCountStop_IT(&hhrtim1, HRTIM_TIMERID_MASTER | HRTIM_TIMERID_TIMER_A | HRTIM_TIMERID_TIMER_B);
			  }
			  pid_out = phase_cntr;
		  }

		  if (direction == 1)
		  {
			  phase_cntr--;
			  if ( phase_cntr <= MIN_PHASE)
			  {
				  direction = 0;
			  }
			  pid_out = phase_cntr;
		  }

		  repetition_cntr = 0;
	  }
  }

  // limit the phase
  if (pid_out >= MAX_PHASE)
  {
    pid_out = MAX_PHASE;
  }

  if (pid_out < MIN_PHASE)
  {
    pid_out = MIN_PHASE;
  }

  // DAC debug
//  HAL_DAC_SetValue(&hdac1, DAC_CHANNEL_1, DAC_ALIGN_12B_R, VoutConversion);	// PA4
//  HAL_DAC_SetValue(&hdac1, DAC_CHANNEL_2, DAC_ALIGN_12B_R, pid_out+2048);		// PA5
//  HAL_DAC_SetValue(&hdac2, DAC_CHANNEL_1, DAC_ALIGN_12B_R, errorSum>>2);	// PA6

  return  pid_out;
}

/* USER CODE END 4 */

void Error_Handler(void)
{
}

/************************ (C) COPYRIGHT STMicroelectronics *****END OF FILE****/
